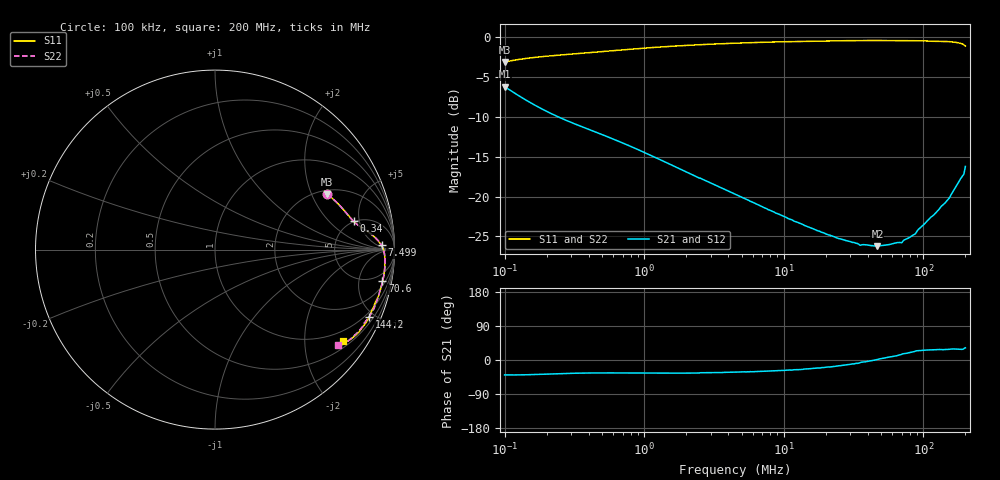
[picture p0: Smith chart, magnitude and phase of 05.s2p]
#  HZ  S  RI  R  50.00
! Rohde & Schwarz Vector Network Analyzer
! Rohde-Schwarz,ZNLE6-2Port,1323001256200024,1.71.1.10-23.02.1.238
! Created: UTC 4/7/2025, 9:43:17 AM
! freq[Hz]  re:S11  im:S11  re:S21  im:S21  re:S12  im:S12  re:S22  im:S22
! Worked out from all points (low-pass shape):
!   1001 points, 100 kHz to 200 MHz, reference 50 ohm
!   highest |S21| = -6.23 dB at 100 kHz (marker M1); lowest = -26.2 dB at 46.83 MHz (marker M2)
!   |S21| within 3 dB of the highest: start of sweep to 195.3 kHz
!   lowest |S11| = -3.1 dB at 100 kHz (marker M3), VSWR 5.60, Z = 109 + j131 ohm
!   |S11| at or under -10 dB: nowhere
!   |S22| runs from -3.1 to -0.4 dB; largest |S21 - S12| = 0.0057
!   S11 on the Smith chart (normalised r, x): 100 kHz: 2.18, +2.62; 340 kHz: 4.94, +4.11; 7.499 MHz: 24, +8; 70.6 MHz: 3, -10; 144.2 MHz: 0.76, -4.70; 200 MHz: 0.67, -2.98
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100000  0.625 0.3084  0.3776 -0.3095  0.3786 -0.3098  0.6243 0.3084
130477.6  0.676 0.2653  0.3262 -0.2664  0.327 -0.2668  0.6754 0.2654
167675.7  0.7109 0.2283  0.2912 -0.2295  0.2919 -0.2298  0.7103 0.2284
236056.7  0.7447 0.1878  0.2571 -0.1891  0.2577 -0.1894  0.7442 0.1879
339989.8  0.7723 0.1575  0.2293 -0.1587  0.2298 -0.159  0.772 0.1576
355854.1  0.7755 0.1544  0.2261 -0.1557  0.2266 -0.156  0.7752 0.1545
1266322  0.8594 0.0944  0.1413 -0.0982  0.1415 -0.0985  0.8592 0.0943
4472136  0.9136 0.044  0.0877 -0.0552  0.0864 -0.0562  0.9143 0.0448
7498684  0.9277 0.0242  0.073 -0.0417  0.0724 -0.0425  0.9282 0.0234
1.591428e7  0.9419 -0.0128  0.0583 -0.0243  0.0579 -0.025  0.9424 -0.0151
2.435817e7  0.9461 -0.0418  0.0528 -0.0149  0.0523 -0.0155  0.9465 -0.0451
3.481714e7  0.9467 -0.0747  0.0493 -0.00665  0.0489 -0.00821  0.9466 -0.0788
4.683098e7  0.9447 -0.109  0.0488 0.00114  0.0485 0.000271  0.9444 -0.1155
5.663162e7  0.9416 -0.1372  0.0495 0.00663  0.0494 0.00501  0.9406 -0.1445
7.059743e7  0.9331 -0.176  0.0498 0.0142  0.0502 0.0123  0.9303 -0.186
8.667956e7  0.9225 -0.2196  0.0536 0.0224  0.0545 0.0205  0.9176 -0.2339
1.183747e8  0.8902 -0.3018  0.0683 0.0346  0.069 0.033  0.8873 -0.325
1.4424e8  0.8607 -0.3733  0.0813 0.0428  0.0813 0.0404  0.8446 -0.3931
1.544525e8  0.843 -0.4046  0.0867 0.0475  0.0867 0.0447  0.8269 -0.4174
1.6665e8  0.8189 -0.4369  0.0969 0.0538  0.0981 0.0493  0.7983 -0.4567
1.882009e8  0.7603 -0.4963  0.1166 0.0621  0.1192 0.0573  0.7258 -0.5196
2e8  0.714 -0.5106  0.1307 0.0825  0.1344 0.0781  0.6848 -0.5337
